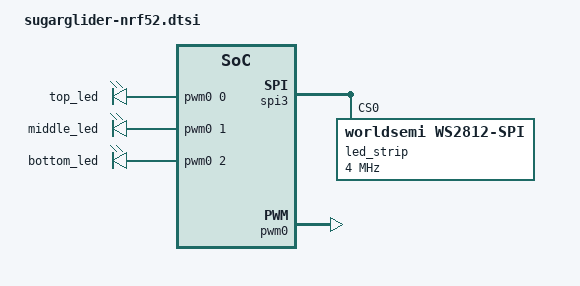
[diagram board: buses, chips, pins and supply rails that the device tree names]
/*
 * Copyright (c) 2024 The ZMK Contributors
 *
 * SPDX-License-Identifier: MIT
 */

#include <dt-bindings/led/led.h>

&spi3 {
    status = "okay";
    pinctrl-0 = <&spi3_default>;
    pinctrl-1 = <&spi3_sleep>;
    pinctrl-names = "default", "sleep";

    led_strip: ws2812@0 {
        compatible = "worldsemi,ws2812-spi";

        /* SPI */
        reg = <0>; /* ignored, but necessary for SPI bindings */
        spi-max-frequency = <4000000>;

        /* WS2812 */
        chain-length = <8>; /* number of LEDs */
        spi-one-frame = <0x70>;
        spi-zero-frame = <0x40>;

        color-mapping = <LED_COLOR_ID_GREEN LED_COLOR_ID_RED LED_COLOR_ID_BLUE>;
    };
};

&pwm0 {
    status = "okay";
    pinctrl-0 = <&pwm0_default>;
    pinctrl-1 = <&pwm0_sleep>;
    pinctrl-names = "default", "sleep";
};

/ {
    // Delete the existing GPIO LEDs.
    /delete-node/ indicator_leds;

    indicator_leds: indicator_leds {
        compatible = "pwm-leds";
        top_led: pwm_led_0 {
            pwms = <&pwm0 0 PWM_USEC(100) PWM_POLARITY_NORMAL>;
        };
        middle_led: pwm_led_1 {
            pwms = <&pwm0 1 PWM_USEC(100) PWM_POLARITY_NORMAL>;
        };
        bottom_led: pwm_led_2 {
            pwms = <&pwm0 2 PWM_USEC(100) PWM_POLARITY_NORMAL>;
        };
    };

    chosen {
        zmk,underglow = &led_strip;
    };
};
